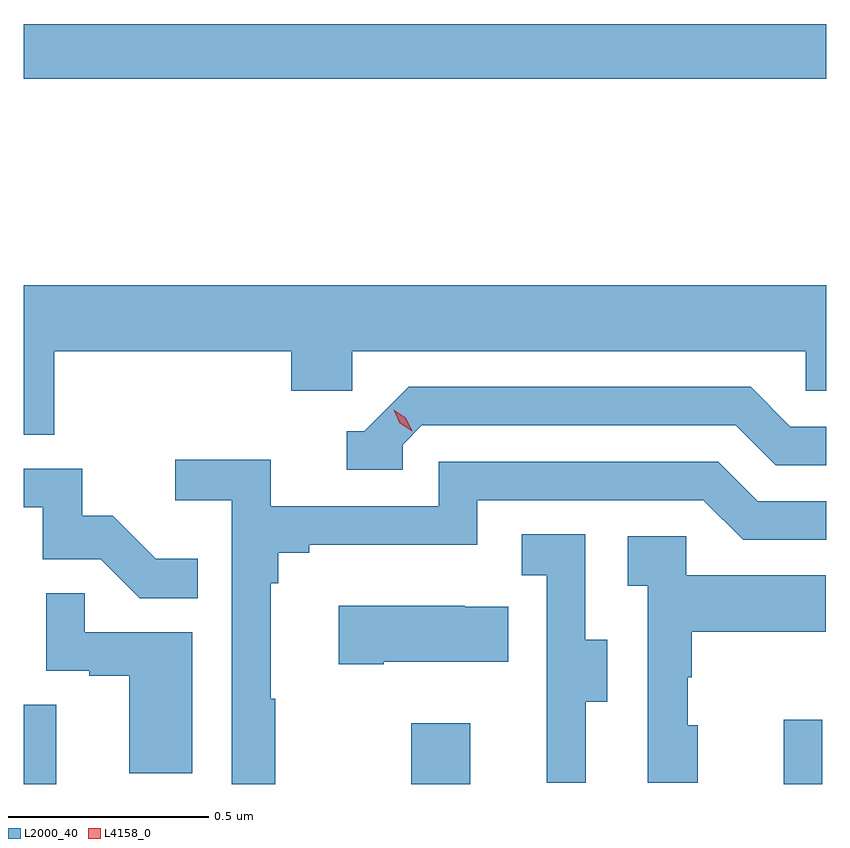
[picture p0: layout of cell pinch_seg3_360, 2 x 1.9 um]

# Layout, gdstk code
import gdstk
lib = gdstk.Library(unit=1e-6, precision=1e-09)
def R(c, l, rs):  # rectangles x0, y0, x1, y1
    for r in rs: c.add(gdstk.rectangle(r[:2], r[2:], *l))
def P(c, l, *ps):  # polygons
    for p in ps: c.add(gdstk.Polygon(p, *l))
L2000_40 = (2000, 40)
L4158_0 = (4158, 0)

pinch_seg3_360 = lib.new_cell('pinch_seg3_360')
R(pinch_seg3_360, L2000_40, [(972.274,697.173,972.355,697.37), (973.24,697.173,973.387,697.324), (974.168,697.173,974.265,697.333), (972.274,698.932,974.274,699.068)])
P(pinch_seg3_360, L2000_40, [(972.35,698.252),(972.941,698.252),(972.941,698.154),(973.092,698.154),(973.092,698.252),(974.223,698.252),(974.223,698.154),(974.274,698.154),(974.274,698.416),(972.274,698.416),(972.274,698.044),(972.35,698.044)],
  [(973.218,698.019),(973.266,698.067),(974.049,698.067),(974.148,697.968),(974.274,697.968),(974.274,698.064),(974.185,698.064),(974.086,698.163),(973.233,698.163),(973.122,698.052),(973.079,698.052),(973.079,697.956),(973.218,697.956)],
  [(972.901,697.385),(972.889,697.385),(972.889,697.673),(972.908,697.673),(972.908,697.75),(972.985,697.75),(972.985,697.769),(973.404,697.769),(973.404,697.881),(973.968,697.881),(974.067,697.782),(974.274,697.782),(974.274,697.878),(974.104,697.878),(974.005,697.977),(973.308,697.977),(973.308,697.866),(972.89,697.866),(972.89,697.982),(972.651,697.982),(972.651,697.88),(972.792,697.88),(972.792,697.173),(972.901,697.173)],
  [(972.707,697.735),(972.603,697.735),(972.496,697.842),(972.42,697.842),(972.42,697.959),(972.274,697.959),(972.274,697.863),(972.321,697.863),(972.321,697.734),(972.465,697.734),(972.563,697.636),(972.707,697.636)],
  [(973.675,697.378),(973.729,697.378),(973.729,697.533),(973.674,697.533),(973.674,697.796),(973.515,697.796),(973.515,697.693),(973.578,697.693),(973.578,697.389),(973.577,697.389),(973.577,697.176),(973.675,697.176)],
  [(973.954,697.32),(973.929,697.32),(973.929,697.439),(973.939,697.439),(973.939,697.553),(974.273,697.553),(974.273,697.693),(973.926,697.693),(973.926,697.791),(973.779,697.791),(973.779,697.667),(973.83,697.667),(973.83,697.176),(973.954,697.176)],
  [(972.694,697.551),(972.425,697.551),(972.425,697.649),(972.33,697.649),(972.33,697.455),(972.437,697.455),(972.437,697.443),(972.536,697.443),(972.536,697.2),(972.694,697.2)],
  [(973.171,697.478),(973.481,697.478),(973.481,697.615),(973.373,697.615),(973.373,697.618),(973.059,697.618),(973.059,697.471),(973.171,697.471)])
P(pinch_seg3_360, L4158_0, [(973.242,698.053),(973.211,698.073),(973.196,698.106),(973.196,698.106),(973.196,698.106),(973.226,698.086),(973.242,698.053),(973.242,698.053)])

lib.write_gds('pinch_seg3_360.gds')
